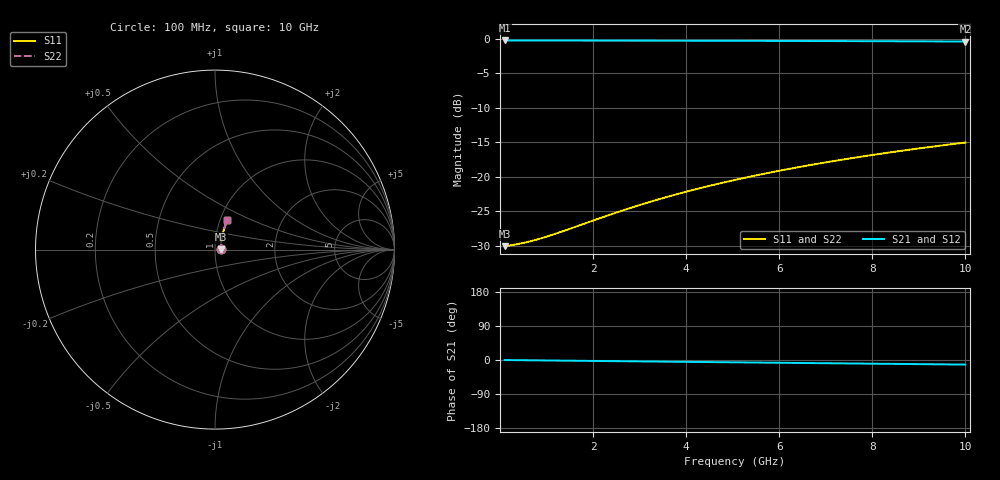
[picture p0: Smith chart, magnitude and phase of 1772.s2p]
# Hz S RI R 50.00
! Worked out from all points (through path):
!   100 points, 100 MHz to 10 GHz, reference 50 ohm
!   highest |S21| = -0.28 dB at 100 MHz (marker M1); lowest = -0.4 dB at 10 GHz (marker M2)
!   group delay of S21, straight-line fit = 3.36 ps
!   lowest |S11| = -30.1 dB at 100 MHz (marker M3), VSWR 1.06, Z = 53.2 + j0.181 ohm
!   |S11| at or under -10 dB: start of sweep to end of sweep
!   |S22| runs from -30.1 to -15.1 dB; largest |S21 - S12| = 0
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1e8  0.0312 0.0017  0.9687 -0.00207  0.9687 -0.00207  0.0312 0.0017
3e8  0.0316 0.00509  0.9684 -0.00619  0.9684 -0.00619  0.0316 0.00509
5e8  0.0319 0.00847  0.9681 -0.0103  0.9681 -0.0103  0.0319 0.00847
8e8  0.0323 0.0135  0.9677 -0.0165  0.9677 -0.0165  0.0323 0.0135
1e9  0.0325 0.0169  0.9675 -0.0206  0.9675 -0.0206  0.0325 0.0169
1.2e9  0.0328 0.0203  0.9672 -0.0247  0.9672 -0.0247  0.0328 0.0203
1.8e9  0.0337 0.0304  0.9663 -0.037  0.9663 -0.037  0.0337 0.0304
2.2e9  0.0344 0.0371  0.9656 -0.0452  0.9656 -0.0452  0.0344 0.0371
2.6e9  0.0352 0.0439  0.9647 -0.0534  0.9647 -0.0534  0.0352 0.0439
3e9  0.0361 0.0505  0.9638 -0.0616  0.9638 -0.0616  0.0361 0.0505
3.4e9  0.0371 0.0572  0.9628 -0.0697  0.9628 -0.0697  0.0371 0.0572
3.8e9  0.0382 0.0639  0.9617 -0.0779  0.9617 -0.0779  0.0382 0.0639
4.2e9  0.0395 0.0705  0.9604 -0.086  0.9604 -0.086  0.0395 0.0705
4.6e9  0.0408 0.0771  0.9591 -0.094  0.9591 -0.094  0.0408 0.0771
5.1e9  0.0426 0.0853  0.9572 -0.1041  0.9572 -0.1041  0.0426 0.0853
5.5e9  0.0442 0.0918  0.9556 -0.1121  0.9556 -0.1121  0.0442 0.0918
5.9e9  0.0458 0.0983  0.9539 -0.1201  0.9539 -0.1201  0.0458 0.0983
6.7e9  0.0495 0.1112  0.9502 -0.1359  0.9502 -0.1359  0.0495 0.1112
7.5e9  0.0535 0.1239  0.946 -0.1516  0.946 -0.1516  0.0535 0.1239
8.4e9  0.0586 0.138  0.9409 -0.169  0.9409 -0.169  0.0586 0.138
9.2e9  0.0635 0.1503  0.9358 -0.1843  0.9358 -0.1843  0.0635 0.1503
1e10  0.0688 0.1624  0.9304 -0.1993  0.9304 -0.1993  0.0688 0.1624
